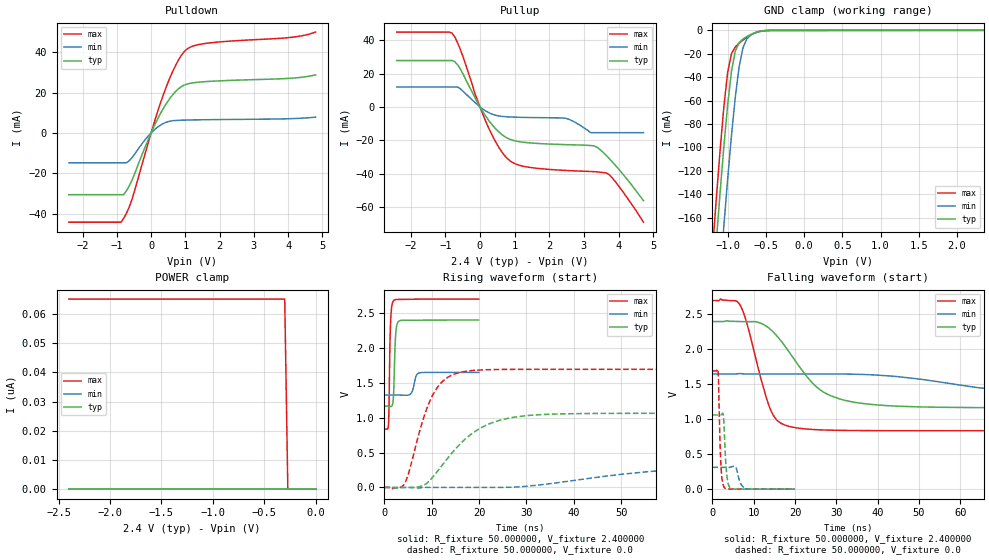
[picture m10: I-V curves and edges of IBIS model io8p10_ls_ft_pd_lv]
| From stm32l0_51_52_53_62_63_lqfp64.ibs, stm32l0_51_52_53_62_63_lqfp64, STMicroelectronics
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|   Model io8p10_ls_ft_pd_lv
[Model]  io8p10_ls_ft_pd_lv
Model_type I/O
Polarity   Non-Inverting
Enable   Active-Low
Vinl =   0.720000V
Vinh =   1.680000V
Vmeas =  1.200000V
Cref =   50.000000pF
Rref =   100.000000M
Vref =   0.0V
C_comp   4.521100pF   4.438000pF   4.578000pF
[Temperature Range]   25.000000   0.105000k   -40.000000
[Pullup Reference]   2.400000V   1.650000V   2.700000V
[Pulldown Reference]   0.0V   0.0V   0.0V
[POWER Clamp Reference]   2.400000V   1.650000V   2.700000V
[GND Clamp Reference]   0.0V   0.0V   0.0V
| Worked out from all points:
|   slope of the pulldown table from 0 to 0.36 V, typ, clamps not added: 29.5 ohm
|   slope of the pullup table from 0 to 0.36 V, typ, clamps not added: 33.2 ohm
|   GND clamp passes 1 mA (typ) near -0.59 V on its own axis
|   rising waveform, R_fixture 50.000000, V_fixture 2.400000: 20-80 % time 360ps typ, 684ps min, 300ps max; typ from 1.17 V to 2.4 V
|   rising waveform, R_fixture 50.000000, V_fixture 0.0: 20-80 % time 9.31ns typ, 24.7ns min, 4.8ns max; typ from 0 V to 1.06 V
|   falling waveform, R_fixture 50.000000, V_fixture 2.400000: 20-80 % time 10.1ns typ, 27.2ns min, 5.05ns max; typ from 2.4 V to 1.17 V
|   falling waveform, R_fixture 50.000000, V_fixture 0.0: 20-80 % time 616ps typ, 993ps min, 510ps max; typ from 1.06 V to 0 V
[Pulldown]
|Voltage   I(typ)   I(min)   I(max)
-2.4V     -30.64mA   -14.84mA   -44.29mA
-880mV    -30.64mA   -14.84mA   -44.29mA
-800mV    -30.64mA   -14.84mA   -42.37mA
-560mV    -23.52mA   -12.34mA   -33.09mA
0V        -765.1nA   -61.09nA   -2.527uA
400mV     13.38mA    4.998mA    20.91mA
720mV     20.62mA    6.178mA    33.69mA
880mV     22.92mA    6.306mA    38.42mA
1.04V     24.19mA    6.384mA    41.49mA
1.6V      25.46mA    6.543mA    44.41mA
4.08V     27.12mA    7.07mA     47.39mA
4.8V      28.77mA    7.815mA    50.01mA
[Pullup]
|Voltage   I(typ)   I(min)   I(max)
-2.4V     27.74mA    11.99mA    44.75mA
-800mV    27.74mA    11.99mA    44.06mA
-560mV    22.49mA    10.76mA    34.07mA
-160mV    6.354mA    3mA        8.973mA
240mV     -7.653mA   -3.251mA   -12mA
560mV     -15.22mA   -5.43mA    -24.63mA
800mV     -18.73mA   -5.909mA   -31mA
1.28V     -21.13mA   -6.237mA   -35.54mA
2.48V     -22.51mA   -6.819mA   -37.93mA
3.36V     -23.83mA   -15.37mA   -38.77mA
3.76V     -31.49mA   -15.37mA   -41.07mA
4.72V     -56mA      -15.37mA   -68.86mA
[GND_clamp]
|Voltage   I(typ)   I(min)   I(max)
-2.4V     -1.379A    -1.445A    -1.35A
-1.2V     -225.9mA   -297.5mA   -189.2mA
-1.15V    -182mA     -253.1mA   -145.3mA
-1.1V     -139.6mA   -209.7mA   -103.5mA
-1.05V    -99.62mA   -167.6mA   -65.7mA
-1V       -63.68mA   -127.3mA   -35.9mA
-950mV    -35mA      -89.93mA   -19.88mA
-900mV    -17.68mA   -57.02mA   -14.13mA
-850mV    -10.5mA    -31.19mA   -11.01mA
-750mV    -5.3mA     -7.337mA   -6.005mA
-450mV    -43.41uA   -101.2uA   -21.28uA
2.35V     52.68uA    50.02uA    36.83uA
[POWER_clamp]
|Voltage   I(typ)   I(min)   I(max)
-2.4V     0A         0A         65.17nA
-300mV    0A         0A         65.17nA
-270mV    0A         0A         0A
0V        0A         0A         0A
[Ramp]
| variable   typ   min   max
dV/dt_r  0.63713/9.29379n   0.18752/24.69273n   1.01518/4.78993n
dV/dt_f  0.74040/10.10463n   0.19470/27.10829n   1.11768/5.04252n
R_load = 50.000000
[Rising Waveform]
R_fixture= 50.000000
V_fixture= 2.400000
V_fixture_min= 1.650000
V_fixture_max= 2.700000
|time   V(typ)   V(min)   V(max)
0s        1.165V     1.324V     836.7mV
840.8ps   1.164V     1.324V     895.2mV
961ps     1.163V     1.324V     1.147V
1.281ns   1.159V     1.324V     2.336V
1.882ns   1.285V     1.324V     2.673V
2.362ns   2.181V     1.324V     2.692V
3.003ns   2.38V      1.324V     2.694V
5.606ns   2.396V     1.346V     2.696V
7.447ns   2.396V     1.642V     2.697V
19.94ns   2.399V     1.649V     2.699V
[Rising Waveform]
R_fixture= 50.000000
V_fixture= 0.0
V_fixture_min= 0.0
V_fixture_max= 0.0
|time   V(typ)   V(min)   V(max)
0s        146.2uV    47.39uV    204.7uV
4.505ns   -956.6uV   138.8uV    85.7mV
8.509ns   38.5mV     -594.2uV   1.045V
11.51ns   258.3mV    -197.6uV   1.462V
14.51ns   513.3mV    -200.2uV   1.617V
18.52ns   772.4mV    -174.1uV   1.675V
25.53ns   981.8mV    940.2uV    1.691V
37.04ns   1.053V     71.84mV    1.692V
80.58ns   1.062V     299.3mV    1.692V
249.2ns   1.062V     312.5mV    1.692V
[Falling Waveform]
R_fixture= 50.000000
V_fixture= 2.400000
V_fixture_min= 1.650000
V_fixture_max= 2.700000
|time   V(typ)   V(min)   V(max)
0s        2.399V     1.649V     2.699V
6.507ns   2.399V     1.655V     2.655V
8.008ns   2.397V     1.649V     2.441V
12.01ns   2.367V     1.648V     1.526V
14.51ns   2.263V     1.648V     1.082V
20.52ns   1.798V     1.648V     875.9mV
28.53ns   1.34V      1.648V     844.7mV
44.54ns   1.188V     1.612V     837.1mV
95.6ns    1.165V     1.346V     836.7mV
249.2ns   1.165V     1.324V     836.7mV
[Falling Waveform]
R_fixture= 50.000000
V_fixture= 0.0
V_fixture_min= 0.0
V_fixture_max= 0.0
|time   V(typ)   V(min)   V(max)
0s        1.062V     312.5mV    1.692V
1.361ns   1.062V     312.5mV    1.702V
2.082ns   1.064V     312.5mV    334.6mV
2.603ns   1.074V     312.5mV    61.67mV
2.883ns   835.5mV    312.5mV    25.33mV
3.443ns   236.4mV    312.2mV    5.134mV
4.324ns   18.52mV    315mV      1.976mV
5.606ns   963.2uV    319.3mV    1.752mV
8.208ns   563.9uV    8.174mV    1.124mV
19.94ns   146.2uV    47.39uV    204.7uV
